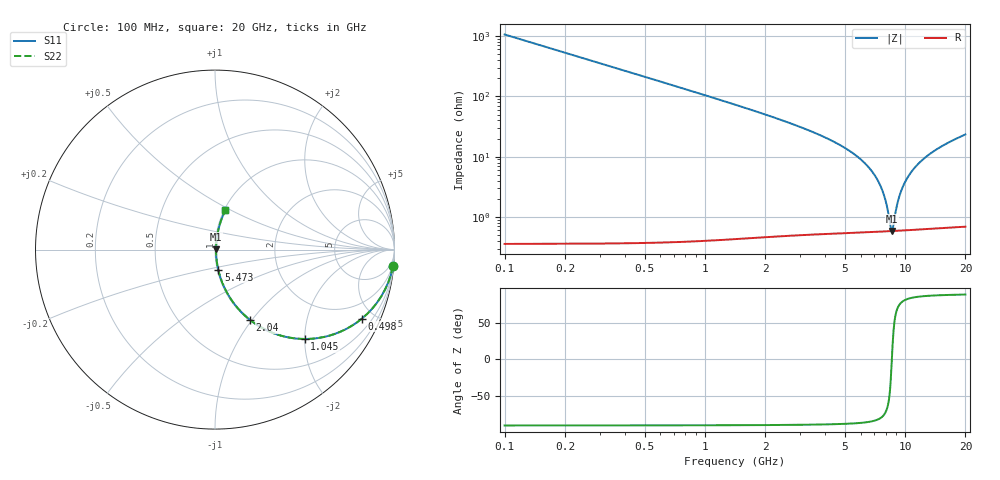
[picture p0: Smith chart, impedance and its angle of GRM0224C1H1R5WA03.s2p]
!Murata Part Number: GRM0224C1H1R5WA03
!These Parameters are Measured in Series Mode Connection
!Data Generated on Mar 30, 2021
!  o--ll--o
!Port1  Port2
!  o------o
!Operation Temp=25[degC], DC Bias Voltage=0[V]
!Freq. Start=100[MHz] Stop=20[GHz] 401[Steps]
# Hz S RI R 50
!Freq.(Hz) S11(Real) S11(Imag) S21(Real) S21(Imag) S12(Real) S12(Imag) S22(Real) S22(Imag)
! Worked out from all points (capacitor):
!   401 points, 100 MHz to 20 GHz, reference 50 ohm
!   read as one part in series: C = 1.5 pF near 199.5 MHz
!   lowest |Z| = 588 mohm at 8.607 GHz (marker M1)
!   series resonance near 8.586 GHz, so ESL is about 230 pH
!   S11 on the Smith chart (normalised r, x): 100 MHz: 1, -21; 498 MHz: 1.01, -4.25; 1.045 GHz: 1.01, -2.00; 2.04 GHz: 1.01, -0.98; 5.473 GHz: 1.01, -0.23; 20 GHz: 1.01, +0.47
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1e8  0.9912 -0.0934  0.00884 0.0934  0.00884 0.0934  0.9912 -0.0934
2.99e8  0.926 -0.2612  0.074 0.2612  0.074 0.2612  0.926 -0.2612
4.98e8  0.818 -0.385  0.182 0.385  0.182 0.385  0.818 -0.385
7.4675e8  0.6648 -0.4707  0.3352 0.4707  0.3352 0.4707  0.6648 -0.4707
1.04525e9  0.4996 -0.498  0.5004 0.498  0.5004 0.498  0.4996 -0.498
1.493e9  0.3225 -0.4643  0.6775 0.4643  0.6775 0.4643  0.3225 -0.4643
2.04025e9  0.1958 -0.3921  0.8042 0.3921  0.8042 0.3921  0.1958 -0.3921
3.43325e9  0.067 -0.2404  0.933 0.2404  0.933 0.2404  0.067 -0.2404
5.473e9  0.0182 -0.112  0.9818 0.112  0.9818 0.112  0.0182 -0.112
6.7665e9  0.00903 -0.0583  0.991 0.0583  0.991 0.0583  0.00903 -0.0583
7.31375e9  0.0072 -0.0391  0.9928 0.0391  0.9928 0.0391  0.0072 -0.0391
7.7615e9  0.00632 -0.0246  0.9937 0.0246  0.9937 0.0246  0.00632 -0.0246
8.10975e9  0.00595 -0.0139  0.9941 0.0139  0.9941 0.0139  0.00595 -0.0139
8.458e9  0.00581 -0.00364  0.9942 0.00364  0.9942 0.00364  0.00581 -0.00364
8.60725e9  0.00581 0.000613  0.9942 -0.000613  0.9942 -0.000613  0.00581 0.000613
9.254e9  0.00622 0.0182  0.9938 -0.0182  0.9938 -0.0182  0.00622 0.0182
9.60225e9  0.00667 0.0272  0.9933 -0.0272  0.9933 -0.0272  0.00667 0.0272
1.005e10  0.00746 0.0384  0.9925 -0.0384  0.9925 -0.0384  0.00746 0.0384
1.139325e10  0.011 0.0693  0.989 -0.0693  0.989 -0.0693  0.011 0.0693
1.338325e10  0.0186 0.1099  0.9814 -0.1099  0.9814 -0.1099  0.0186 0.1099
1.67165e10  0.036 0.1684  0.964 -0.1684  0.964 -0.1684  0.036 0.1684
2e10  0.0573 0.2181  0.9427 -0.2181  0.9427 -0.2181  0.0573 0.2181
